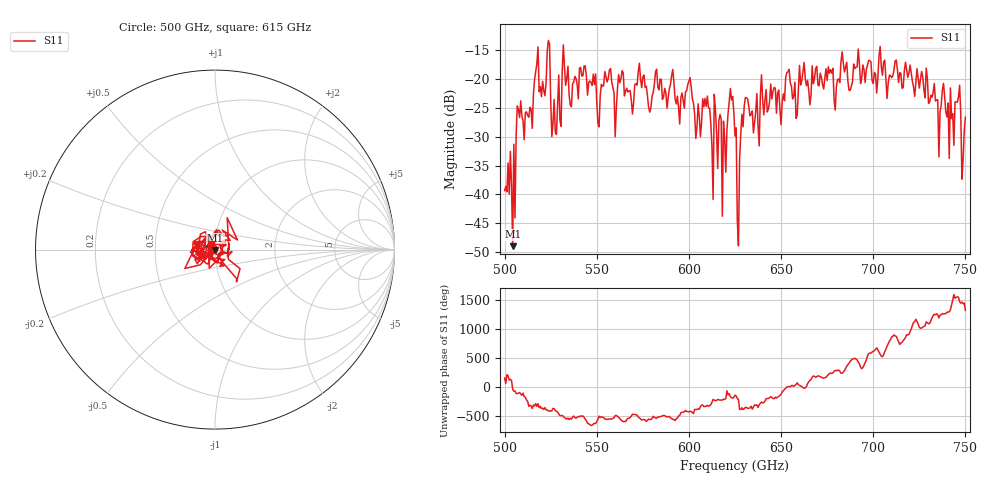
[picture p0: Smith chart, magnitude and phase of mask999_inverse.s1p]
!Created with skrf (http://scikit-rf.org).
# GHz S MA R 50.0
!freq magS11 angS11
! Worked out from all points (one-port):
!   401 points, 500 GHz to 750 GHz, reference 50 ohm
!   lowest |S11| = -49.0 dB at 504.4 GHz (marker M1), VSWR 1.01, Z = 50.3 - j0.226 ohm
!   |S11| at or under -10 dB: start of sweep to end of sweep
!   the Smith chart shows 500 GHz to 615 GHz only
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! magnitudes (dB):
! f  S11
! 500 GHz  -39.3
! 504.4 GHz  -49.0
! 507.5 GHz  -25.3
! 513.8 GHz  -24.9
! 516.9 GHz  -18.7
! 520.6 GHz  -20.4
! 523.8 GHz  -13.3
! 526.9 GHz  -23.5
! 531.2 GHz  -18.5
! 542.5 GHz  -19.4
! 551.2 GHz  -28.3
! 562.5 GHz  -20.6
! 578.8 GHz  -25.7
! 590.6 GHz  -19.4
! 593.8 GHz  -23.0
! 610 GHz  -22.9
! 611.9 GHz  -27.7
! 619.4 GHz  -30.3
! 623.1 GHz  -23.6
! 625 GHz  -29.9
! 626.9 GHz  -48.9
! 631.2 GHz  -23.2
! 656.2 GHz  -23.4
! 680 GHz  -21.3
! 683.8 GHz  -17.2
! 687.5 GHz  -21.9
! 718.8 GHz  -19.7
! 750 GHz  -26.6
